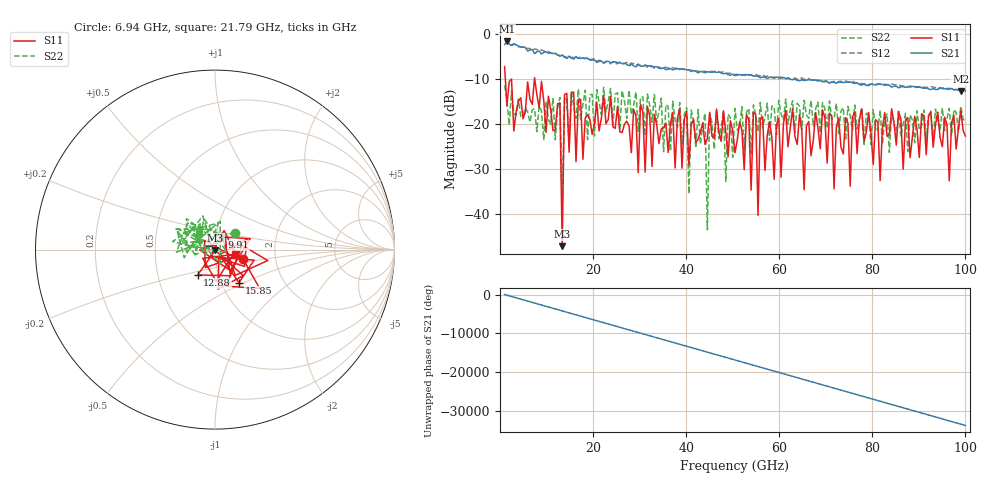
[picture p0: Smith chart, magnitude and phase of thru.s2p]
!Created with skrf (http://scikit-rf.org).
# GHz S RI R 50.0
!freq ReS11 ImS11 ReS21 ImS21 ReS12 ImS12 ReS22 ImS22
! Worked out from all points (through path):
!   201 points, 1 GHz to 100 GHz, reference 50 ohm
!   highest |S21| = -1.51 dB at 1.495 GHz (marker M1); lowest = -12.6 dB at 99.01 GHz (marker M2)
!   lowest |S11| = -47.2 dB at 13.38 GHz (marker M3), VSWR 1.01, Z = 50.1 - j0.424 ohm
!   |S11| at or under -10 dB: 1.161 GHz to 2.427 GHz (1.266 GHz wide, 70.6 % of centre); 2.488 GHz to 7.405 GHz (4.917 GHz wide, 99.4 % of centre); 7.483 GHz to end of sweep
!   |S22| runs from -43.5 to -11.4 dB; largest |S21 - S12| = 0.11
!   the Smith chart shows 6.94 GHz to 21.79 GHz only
!   S11 on the Smith chart (normalised r, x): 6.94 GHz: 1.36, -0.15; 9.91 GHz: 1.07, +0.15; 12.88 GHz: 0.79, -0.23; 15.85 GHz: 1.21, -0.47; 21.79 GHz: 1.25, -0.07
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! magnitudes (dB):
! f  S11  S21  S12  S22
! 1 GHz  -7.2  -2.2  -1.3  -11.4
! 1.495 GHz  -15.9  -1.5  -1.5  -14.5
! 6.94 GHz  -15.6  -3.4  -3.4  -16.8
! 9.91 GHz  -21.8  -3.8  -3.9  -14.8
! 12.88 GHz  -15.3  -4.9  -4.6  -14.0
! 13.38 GHz  -47.2  -4.6  -4.6  -38.7
! 13.87 GHz  -13.4  -5.1  -5.1  -14.0
! 15.85 GHz  -12.9  -5.5  -4.9  -16.0
! 17.83 GHz  -27.8  -5.2  -5.3  -15.6
! 21.79 GHz  -18.7  -5.9  -5.9  -17.8
! 34.16 GHz  -24.3  -7.5  -7.2  -17.2
! 40.1 GHz  -17.2  -7.8  -8.0  -16.3
! 40.6 GHz  -29.1  -7.9  -8.0  -35.5
! 41.09 GHz  -20.1  -8.2  -7.9  -16.8
! 44.06 GHz  -24.5  -8.5  -8.2  -17.6
! 44.56 GHz  -23.2  -8.3  -8.3  -43.5
! 45.05 GHz  -17.3  -8.4  -8.2  -17.6
! 50.5 GHz  -26.3  -9.2  -8.9  -16.5
! 67.33 GHz  -23.5  -10.1  -10.0  -20.4
! 83.67 GHz  -22.3  -11.3  -11.2  -26.3
! 99.01 GHz  -16.9  -12.6  -12.5  -16.0
! 100 GHz  -22.6  -12.6  -12.4  -19.3
